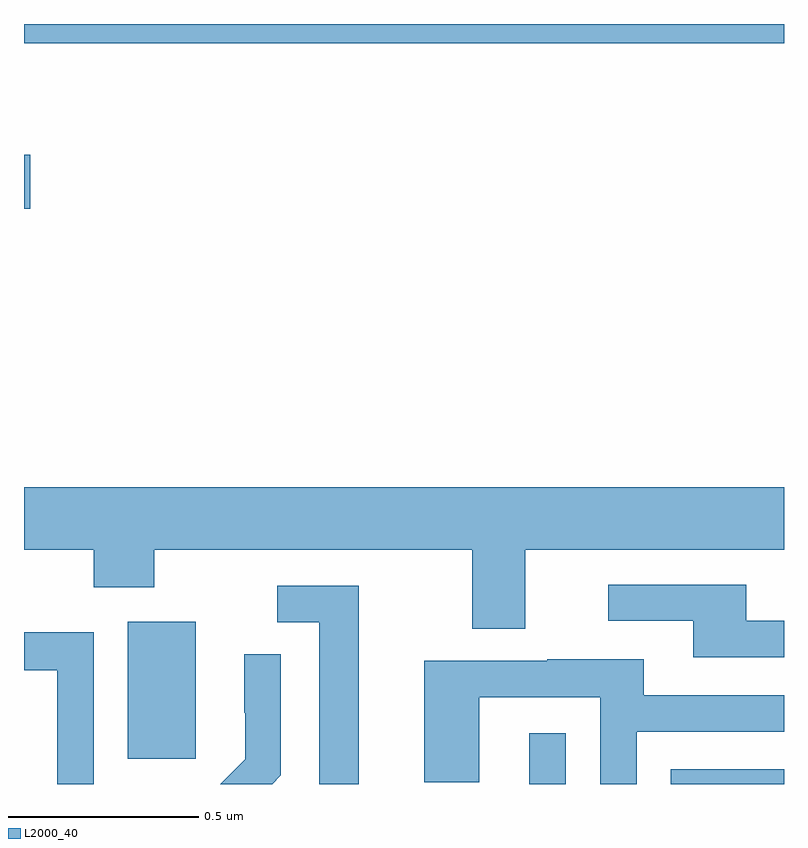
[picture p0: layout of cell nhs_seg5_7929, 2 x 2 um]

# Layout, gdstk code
import gdstk
lib = gdstk.Library(unit=1e-6, precision=1e-09)
def R(c, l, rs):  # rectangles x0, y0, x1, y1
    for r in rs: c.add(gdstk.rectangle(r[:2], r[2:], *l))
def P(c, l, *ps):  # polygons
    for p in ps: c.add(gdstk.Polygon(p, *l))
L2000_40 = (2000, 40)

nhs_seg5_7929 = lib.new_cell('nhs_seg5_7929')
R(nhs_seg5_7929, L2000_40, [(216.329,866.799,216.426,866.932), (216.702,866.799,217,866.838), (215.273,866.865,215.452,867.226), (215,868.313,215.017,868.455), (215,868.748,217,868.799)])
P(nhs_seg5_7929, L2000_40, [(216.319,867.416),(217,867.416),(217,867.58),(215,867.58),(215,867.416),(215.183,867.416),(215.183,867.317),(215.343,867.317),(215.343,867.416),(216.179,867.416),(216.179,867.208),(216.319,867.208)],
  [(217,867.228),(216.901,867.228),(216.901,867.324),(216.537,867.324),(216.537,867.228),(216.761,867.228),(216.761,867.132),(217,867.132)],
  [(215.881,867.321),(215.667,867.321),(215.667,867.225),(215.777,867.225),(215.777,866.799),(215.881,866.799)],
  [(215.184,867.198),(215,867.198),(215,867.099),(215.088,867.099),(215.088,866.799),(215.184,866.799)],
  [(215.676,866.822),(215.676,867.14),(215.58,867.14),(215.58,866.986),(215.582,866.986),(215.582,866.864),(215.517,866.799),(215.653,866.799)],
  [(216.612,866.937),(217,866.937),(217,867.033),(216.631,867.033),(216.631,867.127),(216.377,867.127),(216.377,867.123),(216.053,867.123),(216.053,866.803),(216.198,866.803),(216.198,867.027),(216.516,867.027),(216.516,866.799),(216.612,866.799)])

lib.write_gds('nhs_seg5_7929.gds')
